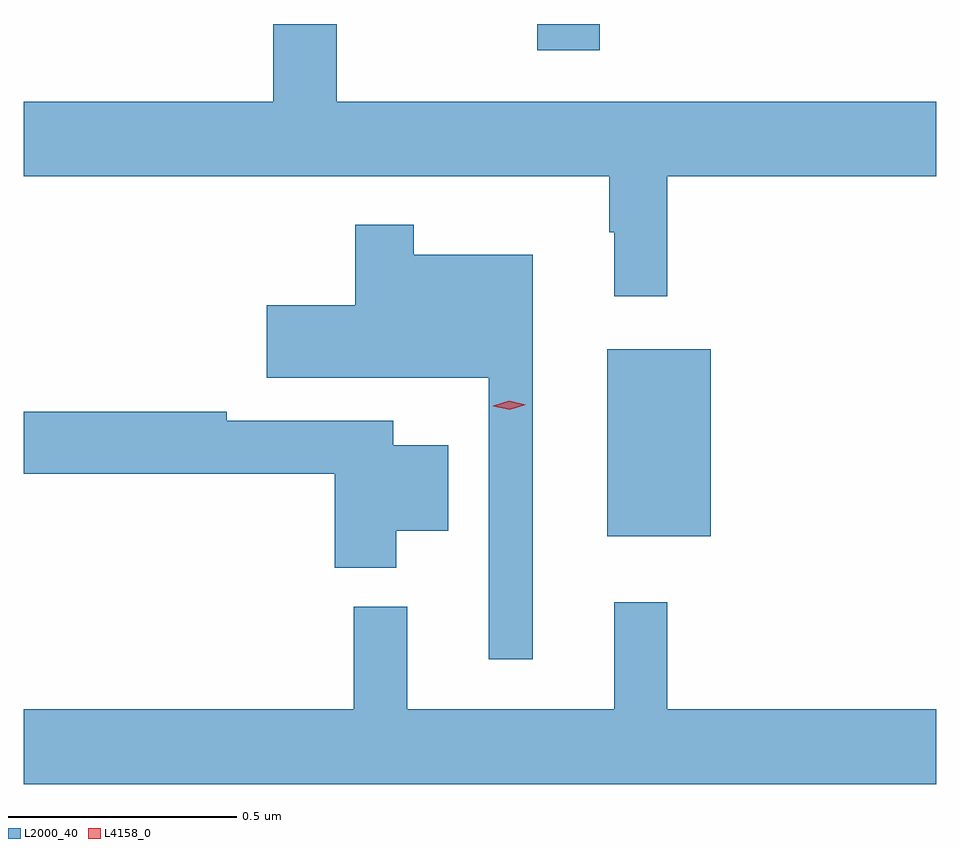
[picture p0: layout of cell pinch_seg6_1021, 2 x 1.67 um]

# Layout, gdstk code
import gdstk
lib = gdstk.Library(unit=1e-6, precision=1e-09)
def R(c, l, rs):  # rectangles x0, y0, x1, y1
    for r in rs: c.add(gdstk.rectangle(r[:2], r[2:], *l))
def P(c, l, *ps):  # polygons
    for p in ps: c.add(gdstk.Polygon(p, *l))
L2000_40 = (2000, 40)
L4158_0 = (4158, 0)

pinch_seg6_1021 = lib.new_cell('pinch_seg6_1021')
R(pinch_seg6_1021, L2000_40, [(286.487,918.575,286.714,918.985), (286.334,919.64,286.47,919.698)])
P(pinch_seg6_1021, L2000_40, [(286.619,919.364),(287.208,919.364),(287.208,919.528),(285.894,919.528),(285.894,919.698),(285.755,919.698),(285.755,919.528),(285.208,919.528),(285.208,919.364),(286.491,919.364),(286.491,919.241),(286.502,919.241),(286.502,919.101),(286.619,919.101)],
  [(286.324,919.192),(286.063,919.192),(286.063,919.258),(285.934,919.258),(285.934,919.081),(285.741,919.081),(285.741,918.923),(286.227,918.923),(286.227,918.306),(286.324,918.306)],
  [(286.024,918.587),(286.138,918.587),(286.138,918.775),(286.018,918.775),(286.018,918.828),(285.653,918.828),(285.653,918.848),(285.208,918.848),(285.208,918.712),(285.89,918.712),(285.89,918.506),(286.024,918.506)],
  [(287.208,918.196),(286.619,918.196),(286.619,918.43),(286.502,918.43),(286.502,918.196),(286.049,918.196),(286.049,918.421),(285.931,918.421),(285.931,918.196),(285.208,918.196),(285.208,918.032),(287.208,918.032)])
P(pinch_seg6_1021, L4158_0, [(286.273,918.852),(286.237,918.86),(286.237,918.861),(286.237,918.861),(286.272,918.872),(286.308,918.863),(286.308,918.863),(286.308,918.863)])

lib.write_gds('pinch_seg6_1021.gds')
